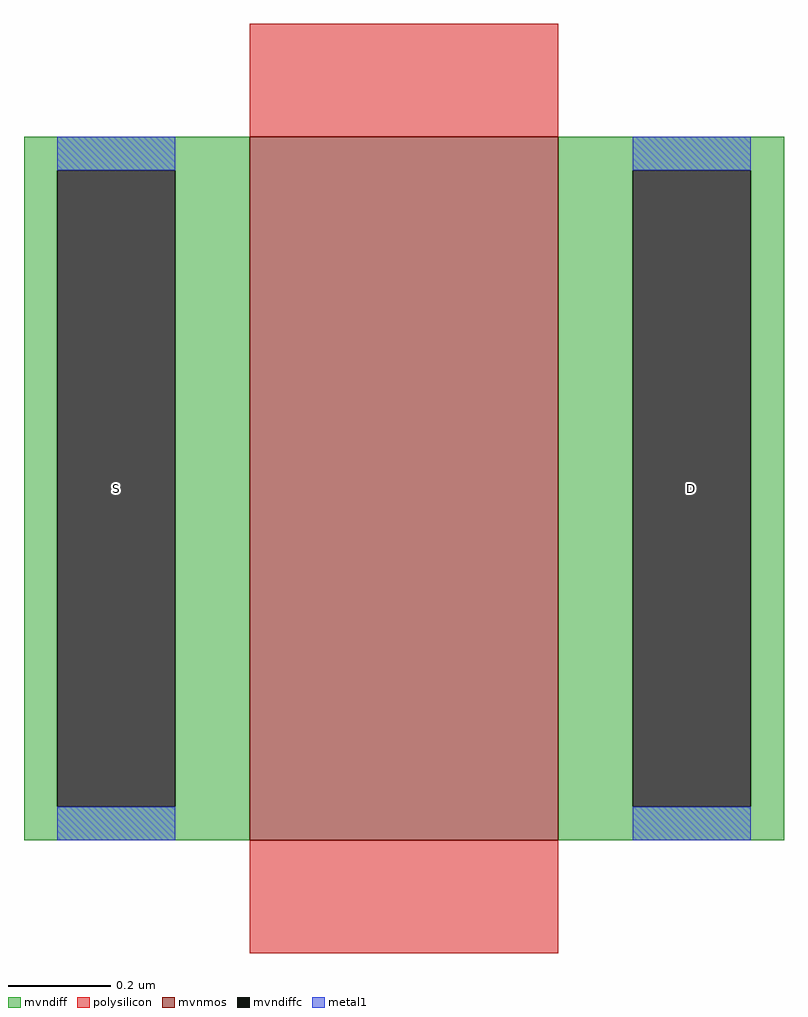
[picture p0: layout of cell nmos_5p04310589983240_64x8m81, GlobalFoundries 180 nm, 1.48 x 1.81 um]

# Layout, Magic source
magic
tech gf180mcuB
magscale 1 10
<< mvnmos >>
rect 0 0 120 274
<< mvndiff >>
rect -88 261 0 274
rect -88 13 -75 261
rect -29 13 0 261
rect -88 0 0 13
rect 120 261 208 274
rect 120 13 149 261
rect 195 13 208 261
rect 120 0 208 13
<< mvndiffc >>
rect -75 13 -29 261
rect 149 13 195 261
<< polysilicon >>
rect 0 274 120 318
rect 0 -44 120 0
<< metal1 >>
rect -75 261 -29 274
rect -75 0 -29 13
rect 149 261 195 274
rect 149 0 195 13
<< labels >>
flabel metal1 s -52 137 -52 137 0 FreeSans 200 0 0 0 S
flabel metal1 s 172 137 172 137 0 FreeSans 200 0 0 0 D
<< properties >>
string GDS_END 78166
string GDS_FILE $PDKPATH/libs.ref/gf180mcu_fd_ip_sram/gds/gf180mcu_fd_ip_sram__sram64x8m8wm1.gds
string GDS_START 76886
<< end >>
